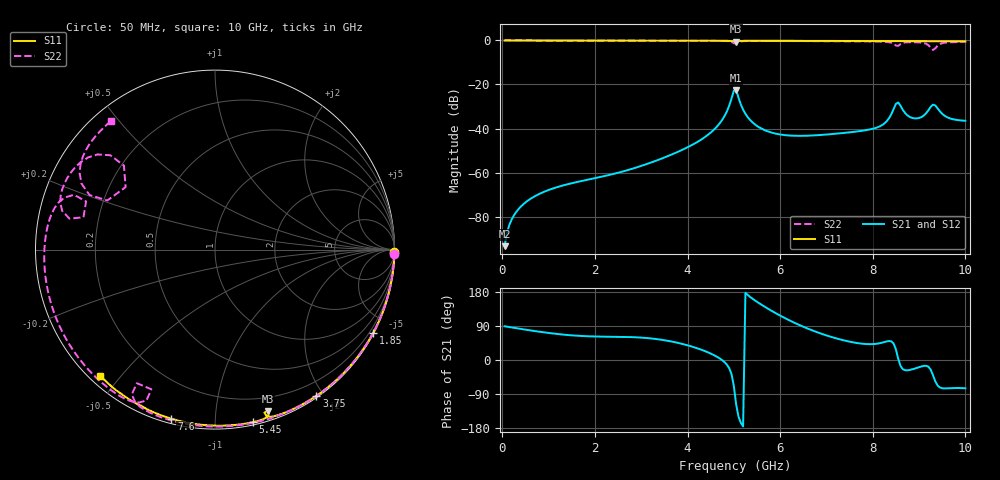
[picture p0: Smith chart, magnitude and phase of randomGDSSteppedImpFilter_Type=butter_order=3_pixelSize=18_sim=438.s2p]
! freq	dB(S11)	phase(S11)	dB(S12)	phase(S12)
!  dB(S21)	phase(S21)	dB(S22)	phase(S22)
!S-par simulation data
#  GHz  S  DB  R 50
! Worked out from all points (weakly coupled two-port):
!   200 points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, 50 MHz to 10 GHz, reference 50 ohm
!   highest |S21| = -22.60 dB at 5.05 GHz (marker M1); lowest = -93.5 dB at 50 MHz (marker M2)
!   lowest |S11| = -0.5 dB at 5.05 GHz (marker M3), VSWR 35.86, Z = 4.05 - j68.9 ohm
!   |S11| at or under -10 dB: nowhere
!   |S22| runs from -4.3 to 0.0 dB; largest |S21 - S12| = 0
!   S11 on the Smith chart (normalised r, x): 50 MHz: open; 1.85 GHz: 0.04, -4.02; 3.75 GHz: 0.02, -1.91; 5.45 GHz: 0.02, -1.25; 7.6 GHz: 0.02, -0.77; 10 GHz: 0.03, -0.44
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0.05  -0.00 -0.8  -93.45 89.0  -93.45 89.0  -0.00 -1.3
0.25  -0.00 -3.8  -79.50 84.9  -79.50 84.9  -0.01 -6.3
0.85  -0.02 -12.9  -69.22 73.8  -69.22 73.8  -0.03 -21.3
1.75  -0.03 -26.4  -63.67 63.2  -63.67 63.2  -0.05 -43.3
1.85  -0.04 -27.9  -63.23 62.6  -63.23 62.6  -0.06 -45.7
3.4  -0.07 -50.3  -53.99 54.0  -53.99 54.0  -0.11 -81.9
3.75  -0.08 -55.3  -51.00 46.4  -51.00 46.4  -0.12 -89.8
4.6  -0.10 -67.1  -39.92 11.0  -39.92 11.0  -0.17 -109.1
4.95  -0.26 -72.8  -26.35 -37.2  -26.35 -37.2  -0.63 -119.9
5.05  -0.48 -71.8  -22.60 -117.1  -22.60 -117.1  -1.36 -114.5
5.2  -0.16 -73.8  -31.43 -175.4  -31.43 -175.4  -0.33 -118.2
5.45  -0.14 -77.5  -38.05 157.6  -38.05 157.6  -0.23 -125.0
5.95  -0.15 -84.1  -42.53 120.5  -42.53 120.5  -0.25 -136.4
6.7  -0.18 -93.6  -43.16 77.8  -43.16 77.8  -0.30 -153.1
7.6  -0.24 -104.5  -41.50 46.0  -41.50 46.0  -0.40 -174.1
8.35  -0.30 -113.4  -35.36 50.1  -35.36 50.1  -0.81 163.4
8.55  -0.34 -115.5  -28.18 2.9  -28.18 2.9  -2.45 166.2
8.85  -0.33 -119.0  -35.18 -24.7  -35.18 -24.7  -0.76 156.2
9.15  -0.36 -122.5  -33.13 -15.2  -33.13 -15.2  -1.49 141.0
9.3  -0.37 -124.2  -29.16 -39.9  -29.16 -39.9  -4.33 145.0
9.5  -0.39 -126.5  -33.34 -74.5  -33.34 -74.5  -1.24 150.5
10  -0.44 -132.3  -36.48 -74.6  -36.48 -74.6  -0.72 128.9
